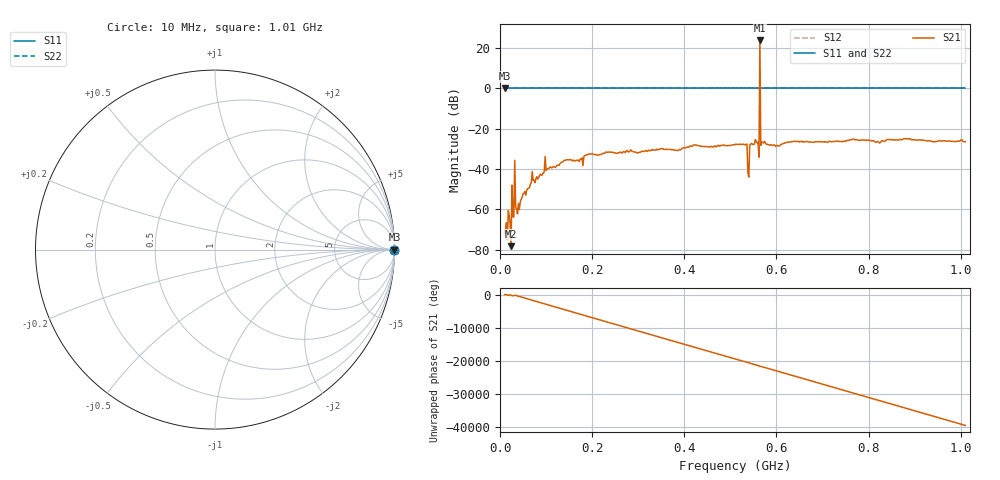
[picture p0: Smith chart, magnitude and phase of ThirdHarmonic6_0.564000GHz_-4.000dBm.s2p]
! 8/15/2025 6:01:10 PM
! C:\ANRITSUVNA\TEMP\TEMP.S2P
! CHANNEL.1
! TR.MEASUREMENT
! RAW.DATA
! RF.CORRECTION.OFF
! AVERAGING.OFF
! IF.BANDWIDTH: 5KHZ
! SWEEPTYPE:  FREQ.SWEEP(Linear)
! Reference Plane Port Info
! PORT:  PORT1  PORT2
! DISTANCE:  0  m  0  m
! TIME:  0  s  0  s
! PHASE.OFFSET:  0  deg.  0  deg.
! LOSS:  0  dB  0  dB
! REF.LOSS:  0  dB  0  dB
! REF.FREQ:  0  Hz  0  Hz
! Power Info
! POWER:  -20  dBm  -20  dBm
! EFF.POWER:  -20  dBm  -20  dBm
! SOURCE.ATTEN:  0  dB  0  dB
! TEST.ATTEN:  0  dB  0  dB
# GHZ S RI R 50.0
! FREQ.GHZ  S11RE  S11IM  S21RE  S21IM  S12RE  S12IM  S22RE  S22IM
!; PortSelection: Port_12
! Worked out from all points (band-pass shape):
!   501 points, 10 MHz to 1.01 GHz, reference 50 ohm
!   highest |S21| = 23.77 dB at 564 MHz (marker M1); lowest = -78.2 dB at 24 MHz (marker M2)
!   |S21| within 3 dB of the highest: 563.8963 MHz to 564.1152 MHz (218.9 kHz wide, 0.0388 % of centre)
!   lowest |S11| = 0.0 dB at 10 MHz (marker M3)
!   |S11| at or under -10 dB: nowhere
!   |S22| runs from 0.0 to 0.0 dB; largest |S21 - S12| = 15
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0.01  1 0  -0.000253 2.21e-05  1 0  1 0
0.024  1 0  0.000113 -4.76e-05  1 0  1 0
0.026  1 0  -0.00394 -0.00062  1 0  1 0
0.03  1 0  -0.000651 1.67e-05  1 0  1 0
0.036  1 0  -0.000899 -0.000499  1 0  1 0
0.038  1 0  -0.000452 0.000625  1 0  1 0
0.07  1 0  -0.00645 -0.00574  1 0  1 0
0.1  1 0  -0.00339 0.00856  1 0  1 0
0.178  1 0  -0.0188 -0.00237  1 0  1 0
0.344  1 0  0.0284 -0.0103  1 0  1 0
0.51  1 0  -0.0339 0.0215  1 0  1 0
0.532  1 0  0.0377 -0.0121  1 0  1 0
0.538  1 0  -0.00578 0.00549  1 0  1 0
0.546  1 0  -0.033 0.028  1 0  1 0
0.558  1 0  0.043 0.0132  1 0  1 0
0.56  1 0  0.0234 -0.0392  1 0  1 0
0.564  1 0  11.87 9.873  1 0  1 0
0.568  1 0  0.0408 -0.023  1 0  1 0
0.57  1 0  -0.0182 -0.0418  1 0  1 0
0.678  1 0  -0.0311 -0.034  1 0  1 0
0.844  1 0  0.0493 0.0227  1 0  1 0
1.01  1 0  -0.0475 0.00497  1 0  1 0
